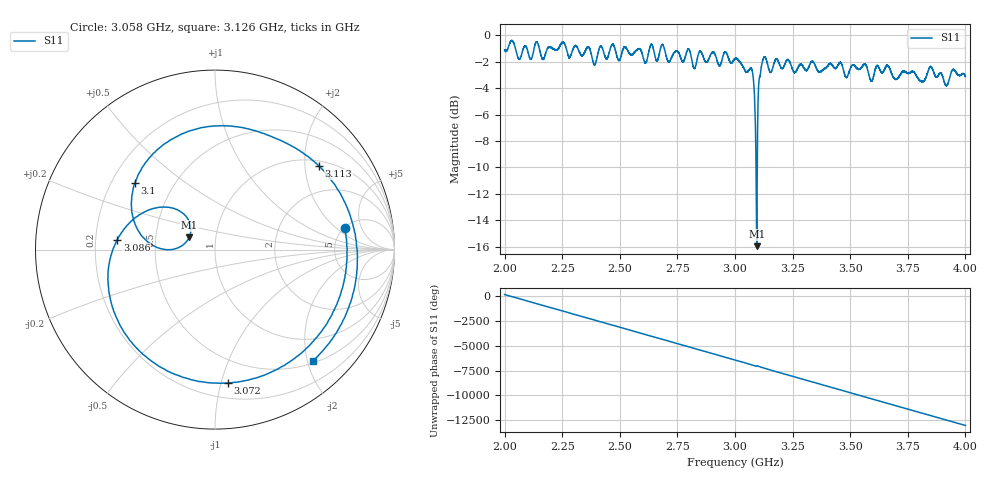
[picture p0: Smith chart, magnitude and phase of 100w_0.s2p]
!Agilent Technologies,E8362B,MY43021131,A.07.50.67
!Agilent E8362B: A.07.50.67
!Date: Thursday, March 14, 2024 15:07:57
!Correction: S11(Off)
!S21(Off)
!S12(Off)
!S22(Off)
!S2P File: Measurements: S11, S21, S12, S22:
# Hz S  RI  R 50
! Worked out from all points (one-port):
!   20001 points, 2 GHz to 4 GHz, reference 50 ohm
!   lowest |S11| = -16.0 dB at 3.094 GHz (marker M1), VSWR 1.38, Z = 37.2 + j5.29 ohm
!   |S11| at or under -10 dB: 3.091326 GHz to 3.096619 GHz (5.292 MHz wide, 0.171 % of centre)
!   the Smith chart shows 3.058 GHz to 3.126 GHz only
!   S11 on the Smith chart (normalised r, x): 3.058 GHz: 5.12, +2.60; 3.072 GHz: 0.31, -1.05; 3.086 GHz: 0.29, +0.05; 3.1 GHz: 0.30, +0.33; 3.113 GHz: 1.13, +2.36; 3.126 GHz: 0.54, -2.09
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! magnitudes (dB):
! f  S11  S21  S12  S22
! 2 GHz  -1.1  -  -  -
! 2.333 GHz  -1.5  -  -  -
! 2.667 GHz  -1.7  -  -  -
! 2.685 GHz  -0.7  -  -  -
! 3 GHz  -1.7  -  -  -
! 3.058 GHz  -2.7  -  -  -
! 3.072 GHz  -2.5  -  -  -
! 3.08 GHz  -3.4  -  -  -
! 3.086 GHz  -5.2  -  -  -
! 3.094 GHz  -16.0  -  -  -
! 3.1 GHz  -4.7  -  -  -
! 3.107 GHz  -3.2  -  -  -
! 3.113 GHz  -2.6  -  -  -
! 3.126 GHz  -1.7  -  -  -
! 3.154 GHz  -2.8  -  -  -
! 3.333 GHz  -2.0  -  -  -
! 3.484 GHz  -3.2  -  -  -
! 3.563 GHz  -2.2  -  -  -
! 3.592 GHz  -3.5  -  -  -
! 3.667 GHz  -2.3  -  -  -
! 3.698 GHz  -3.3  -  -  -
! 4 GHz  -3.1  -  -  -
